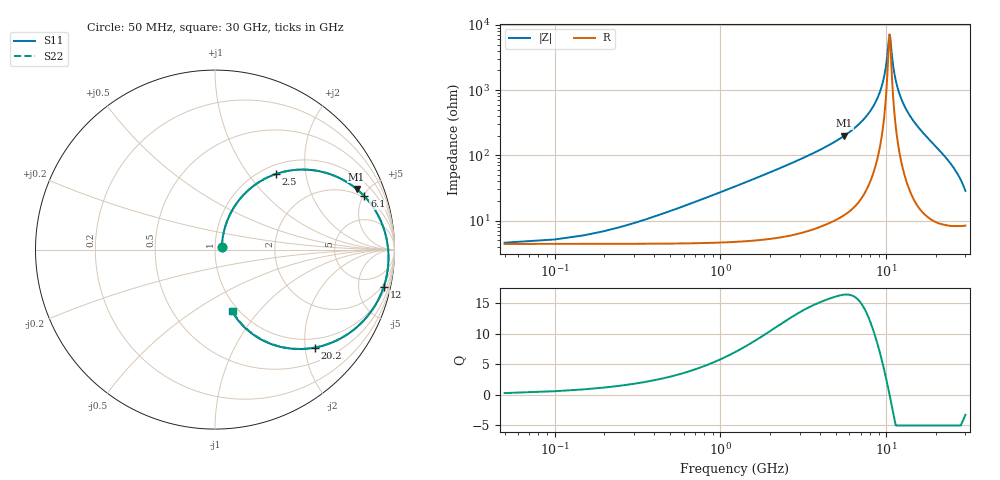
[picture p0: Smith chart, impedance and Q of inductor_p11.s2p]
#  Hz  S  RI  R  50
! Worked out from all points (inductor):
!   600 points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, 50 MHz to 30 GHz, reference 50 ohm
!   read as one part in series: L = 4.23 nH near 500 MHz
!   highest Q = 16.4 at 5.6 GHz (marker M1), where L = 5.69 nH
!   self-resonance near 10.45 GHz
!   S11 on the Smith chart (normalised r, x): 50 MHz: 1.08, +0.03; 2.5 GHz: 1.15, +1.37; 6.1 GHz: 1.88, +5.11; 12 GHz: 1.58, -8.97; 20.2 GHz: 0.79, -2.20; 30 GHz: 0.93, -0.74
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5e7  0.0381 0.0118  0.9538 -0.0126  0.9538 -0.0126  0.0381 0.0118
5e8  0.0535 0.1167  0.9376 -0.1239  0.9376 -0.1239  0.0535 0.1167
9.5e8  0.0925 0.2133  0.8969 -0.2263  0.8969 -0.2263  0.0925 0.2133
1.6e9  0.1813 0.3269  0.8049 -0.3464  0.8049 -0.3464  0.1812 0.3269
2.5e9  0.338 0.4207  0.6451 -0.4464  0.6451 -0.4464  0.3378 0.4207
5.05e9  0.7309 0.3784  0.2516 -0.4236  0.2516 -0.4236  0.7307 0.3787
5.6e9  0.7886 0.3378  0.1934 -0.3878  0.1934 -0.3878  0.7884 0.3382
6.1e9  0.8327 0.2967  0.1488 -0.3509  0.1488 -0.3509  0.8326 0.2971
7.6e9  0.9226 0.1622  0.0578 -0.2285  0.0578 -0.2285  0.9226 0.1627
8.75e9  0.9563 0.0578  0.0235 -0.1339  0.0235 -0.1339  0.9563 0.0584
9.55e9  0.9657 -0.0123  0.0134 -0.0707  0.0134 -0.0707  0.9657 -0.0116
1.005e10  0.9666 -0.0545  0.012 -0.0327  0.012 -0.0327  0.9667 -0.0539
1.035e10  0.9656 -0.0793  0.0127 -0.0105  0.0127 -0.0105  0.9657 -0.0786
1.05e10  0.9646 -0.0915  0.0136 0.000447  0.0136 0.000447  0.9647 -0.0908
1.12e10  0.9565 -0.1466  0.021 0.0497  0.021 0.0497  0.9567 -0.1459
1.2e10  0.9407 -0.2058  0.036 0.1021  0.036 0.1021  0.941 -0.205
1.325e10  0.9045 -0.2896  0.071 0.1751  0.071 0.1751  0.9049 -0.2887
1.505e10  0.8329 -0.3907  0.1404 0.2607  0.1404 0.2607  0.8335 -0.3897
2.005e10  0.5646 -0.5446  0.401 0.3712  0.401 0.3712  0.566 -0.5434
2.02e10  0.5558 -0.5463  0.4095 0.3716  0.4095 0.3716  0.5573 -0.5451
2.505e10  0.2861 -0.5155  0.6693 0.2981  0.6693 0.2981  0.2886 -0.5147
3e10  0.0953 -0.3447  0.847 0.083  0.847 0.083  0.099 -0.3447
